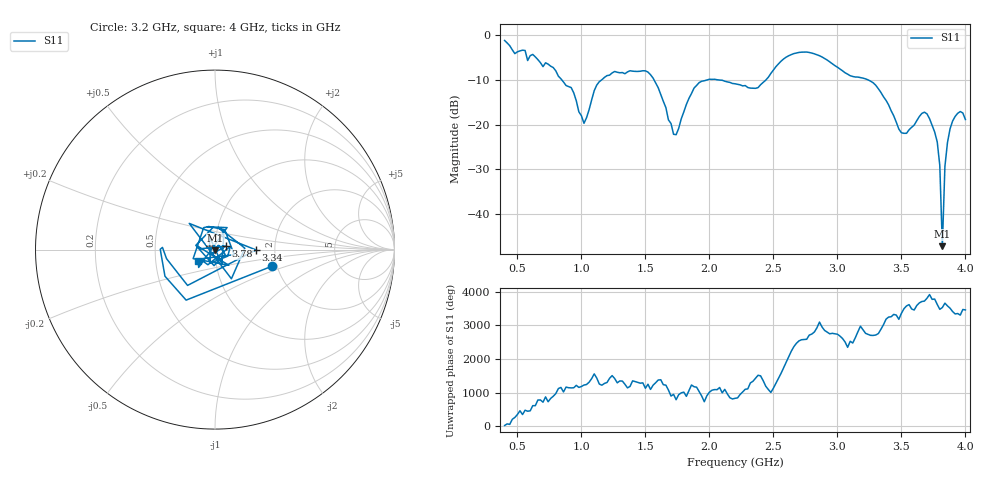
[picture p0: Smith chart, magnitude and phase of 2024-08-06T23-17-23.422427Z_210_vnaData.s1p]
!Created with skrf (http://scikit-rf.org).
# Hz S RI R 50.0
!freq ReS11 ImS11
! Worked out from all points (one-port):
!   181 points, 400 MHz to 4 GHz, reference 50 ohm
!   lowest |S11| = -47.2 dB at 3.82 GHz (marker M1), VSWR 1.01, Z = 50.1 - j0.421 ohm
!   |S11| at or under -10 dB: 1.567 GHz to 1.985 GHz (417.6 MHz wide, 23.5 % of centre); 2.066 GHz to 2.442 GHz (376 MHz wide, 16.7 % of centre); 3.239 GHz to end of sweep (the widest 3 of 4)
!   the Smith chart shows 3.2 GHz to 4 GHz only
!   S11 on the Smith chart (normalised r, x): 3.2 GHz: 1.88, -0.39; 3.34 GHz: 1.59, -0.01; 3.78 GHz: 1.13, +0.05; 4 GHz: 0.82, -0.11
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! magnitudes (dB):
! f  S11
! 400 MHz  -1.2
! 860 MHz  -10.5
! 920 MHz  -11.7
! 1.02 GHz  -19.7
! 1.12 GHz  -11.2
! 1.3 GHz  -8.4
! 1.52 GHz  -8.3
! 1.6 GHz  -11.8
! 1.72 GHz  -22.2
! 1.76 GHz  -20.9
! 1.92 GHz  -10.6
! 2.2 GHz  -10.9
! 2.38 GHz  -11.7
! 2.66 GHz  -4.1
! 2.86 GHz  -4.6
! 3.1 GHz  -9.1
! 3.2 GHz  -9.6
! 3.34 GHz  -12.8
! 3.5 GHz  -21.8
! 3.56 GHz  -21.2
! 3.68 GHz  -17.2
! 3.78 GHz  -23.9
! 3.8 GHz  -29.1
! 3.82 GHz  -47.2
! 3.84 GHz  -29.4
! 3.86 GHz  -24.0
! 3.92 GHz  -18.2
! 4 GHz  -18.9
